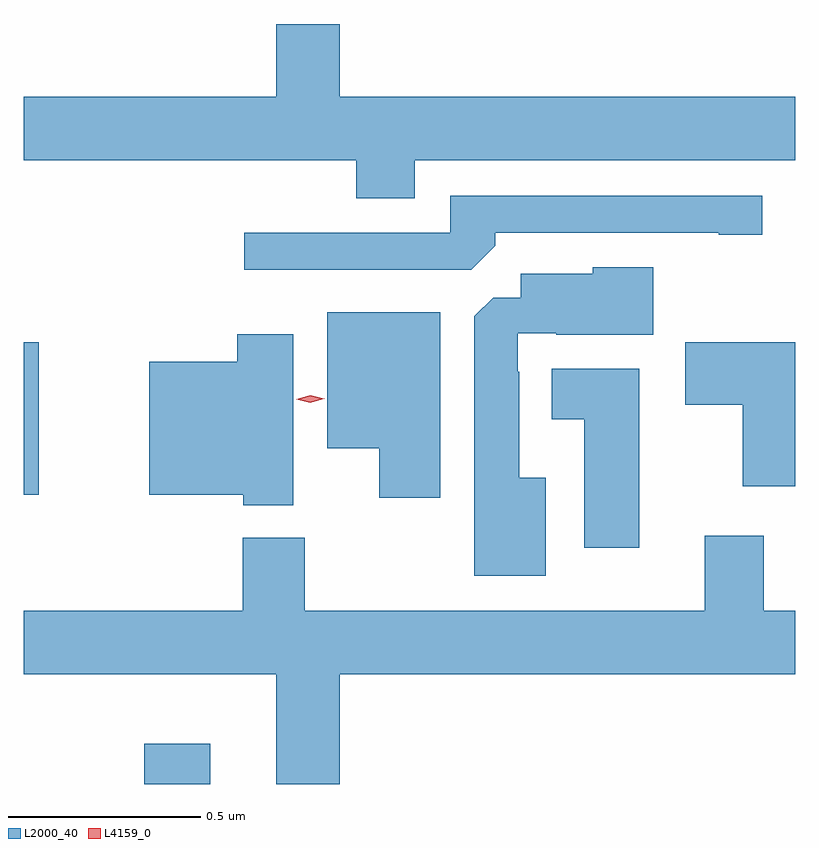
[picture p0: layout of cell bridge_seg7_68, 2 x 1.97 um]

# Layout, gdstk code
import gdstk
lib = gdstk.Library(unit=1e-6, precision=1e-09)
def R(c, l, rs):  # rectangles x0, y0, x1, y1
    for r in rs: c.add(gdstk.rectangle(r[:2], r[2:], *l))
def P(c, l, *ps):  # polygons
    for p in ps: c.add(gdstk.Polygon(p, *l))
L2000_40 = (2000, 40)
L4159_0 = (4159, 0)

bridge_seg7_68 = lib.new_cell('bridge_seg7_68')
R(bridge_seg7_68, L2000_40, [(1087.742,1025.639,1087.912,1025.743), (1087.429,1026.389,1087.468,1026.784)])
P(bridge_seg7_68, L2000_40, [(1088.443,1027.256),(1089.429,1027.256),(1089.429,1027.42),(1088.248,1027.42),(1088.248,1027.609),(1088.084,1027.609),(1088.084,1027.42),(1087.429,1027.42),(1087.429,1027.256),(1088.291,1027.256),(1088.291,1027.157),(1088.443,1027.157)],
  [(1088.651,1027.034),(1088.651,1027.068),(1089.23,1027.068),(1089.23,1027.063),(1089.343,1027.063),(1089.343,1027.164),(1088.535,1027.164),(1088.535,1027.068),(1088.001,1027.068),(1088.001,1026.972),(1088.589,1026.972)],
  [(1088.782,1026.433),(1088.713,1026.433),(1088.713,1026.707),(1088.709,1026.707),(1088.709,1026.807),(1088.809,1026.807),(1088.809,1026.803),(1089.061,1026.803),(1089.061,1026.979),(1088.904,1026.979),(1088.904,1026.961),(1088.717,1026.961),(1088.717,1026.9),(1088.646,1026.9),(1088.597,1026.851),(1088.597,1026.179),(1088.782,1026.179)],
  [(1088.509,1026.862),(1088.216,1026.862),(1088.216,1026.509),(1088.351,1026.509),(1088.351,1026.381),(1088.509,1026.381)],
  [(1088.128,1026.805),(1087.982,1026.805),(1087.982,1026.733),(1087.754,1026.733),(1087.754,1026.389),(1087.998,1026.389),(1087.998,1026.362),(1088.128,1026.362)],
  [(1089.429,1026.784),(1089.144,1026.784),(1089.144,1026.622),(1089.293,1026.622),(1089.293,1026.411),(1089.429,1026.411)],
  [(1089.025,1026.715),(1088.798,1026.715),(1088.798,1026.584),(1088.882,1026.584),(1088.882,1026.252),(1089.025,1026.252)],
  [(1088.248,1025.924),(1089.429,1025.924),(1089.429,1026.088),(1089.347,1026.088),(1089.347,1026.283),(1089.194,1026.283),(1089.194,1026.088),(1088.157,1026.088),(1088.157,1026.277),(1087.997,1026.277),(1087.997,1026.088),(1087.429,1026.088),(1087.429,1025.924),(1088.084,1025.924),(1088.084,1025.639),(1088.248,1025.639)])
P(bridge_seg7_68, L4159_0, [(1088.172,1026.627),(1088.135,1026.636),(1088.135,1026.636),(1088.135,1026.636),(1088.172,1026.647),(1088.208,1026.638),(1088.209,1026.638),(1088.208,1026.637)])

lib.write_gds('bridge_seg7_68.gds')
